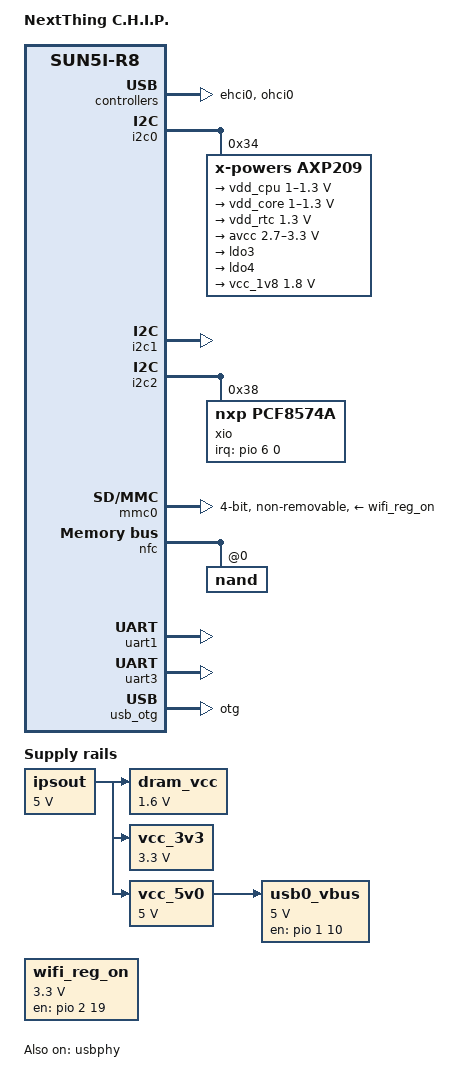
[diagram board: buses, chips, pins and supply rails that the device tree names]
/*
 * Copyright 2015 Maxime Ripard
 *
 * Maxime Ripard <maxime.ripard@free-electrons.com>
 *
 * This file is dual-licensed: you can use it either under the terms
 * of the GPL or the X11 license, at your option. Note that this dual
 * licensing only applies to this file, and not this project as a
 * whole.
 *
 *  a) This file is free software; you can redistribute it and/or
 *     modify it under the terms of the GNU General Public License as
 *     published by the Free Software Foundation; either version 2 of the
 *     License, or (at your option) any later version.
 *
 *     This file is distributed in the hope that it will be useful,
 *     but WITHOUT ANY WARRANTY; without even the implied warranty of
 *     MERCHANTABILITY or FITNESS FOR A PARTICULAR PURPOSE.  See the
 *     GNU General Public License for more details.
 *
 * Or, alternatively,
 *
 *  b) Permission is hereby granted, free of charge, to any person
 *     obtaining a copy of this software and associated documentation
 *     files (the "Software"), to deal in the Software without
 *     restriction, including without limitation the rights to use,
 *     copy, modify, merge, publish, distribute, sublicense, and/or
 *     sell copies of the Software, and to permit persons to whom the
 *     Software is furnished to do so, subject to the following
 *     conditions:
 *
 *     The above copyright notice and this permission notice shall be
 *     included in all copies or substantial portions of the Software.
 *
 *     THE SOFTWARE IS PROVIDED "AS IS", WITHOUT WARRANTY OF ANY KIND,
 *     EXPRESS OR IMPLIED, INCLUDING BUT NOT LIMITED TO THE WARRANTIES
 *     OF MERCHANTABILITY, FITNESS FOR A PARTICULAR PURPOSE AND
 *     NONINFRINGEMENT. IN NO EVENT SHALL THE AUTHORS OR COPYRIGHT
 *     HOLDERS BE LIABLE FOR ANY CLAIM, DAMAGES OR OTHER LIABILITY,
 *     WHETHER IN AN ACTION OF CONTRACT, TORT OR OTHERWISE, ARISING
 *     FROM, OUT OF OR IN CONNECTION WITH THE SOFTWARE OR THE USE OR
 *     OTHER DEALINGS IN THE SOFTWARE.
 */

/dts-v1/;
#include "sun5i-a13.dtsi"

#include <dt-bindings/gpio/gpio.h>
#include <dt-bindings/interrupt-controller/irq.h>

/ {
	model = "NextThing C.H.I.P.";
	compatible = "nextthing,chip", "allwinner,sun5i-r8";

	aliases {
		i2c0 = &i2c0;
		i2c1 = &i2c1;
		i2c2 = &i2c2;
		serial0 = &uart1;
		serial1 = &uart3;
	};

	chosen {
		stdout-path = "serial0:115200n8";
	};

	dram_vcc: dram_vcc {
		compatible = "regulator-fixed";
		regulator-name = "dram-vcc";
		regulator-min-microvolt = <1600000>;
		regulator-max-microvolt = <1600000>;
		vin-supply = <&ipsout>;
		regulator-always-on;
	};

	ipsout: ipsout {
		compatible = "regulator-fixed";
		regulator-name = "ipsout";
		regulator-min-microvolt = <5000000>;
		regulator-max-microvolt = <5000000>;
		regulator-always-on;
	};

	usb0_vbus: usb0_vbus {
		compatible = "regulator-fixed";
		pinctrl-names = "default";
		pinctrl-0 = <&chip_vbus_pin>;

		regulator-name = "vbus-usb0";
		regulator-min-microvolt = <5000000>;
		regulator-max-microvolt = <5000000>;
		vin-supply = <&vcc_5v0>;
		gpio = <&pio 1 10 GPIO_ACTIVE_HIGH>; /* PB10 */
		enable-active-high;
	};

	vcc_3v3: vcc3v3 {
		compatible = "regulator-fixed";
		regulator-name = "vcc-3v3";
		regulator-min-microvolt = <3300000>;
		regulator-max-microvolt = <3300000>;
		vin-supply = <&ipsout>;
		regulator-always-on;
	};

	vcc_5v0: vcc5v0 {
		compatible = "regulator-fixed";
		regulator-name = "vcc-5v0";
		regulator-min-microvolt = <5000000>;
		regulator-max-microvolt = <5000000>;
		vin-supply = <&ipsout>;
		regulator-always-on;
	};

	wifi_reg_on: wifi_reg_on {
		compatible = "regulator-fixed";
		pinctrl-names = "default";
		pinctrl-0 = <&chip_wifi_reg_on_pin>;

		regulator-name = "wifi-reg-on";
		regulator-min-microvolt = <3300000>;
		regulator-max-microvolt = <3300000>;
		gpio = <&pio 2 19 GPIO_ACTIVE_HIGH>; /* PC19 */
		enable-active-high;
	};
};

&ehci0 {
	status = "okay";
};

&i2c0 {
	pinctrl-names = "default";
	pinctrl-0 = <&i2c0_pins_a>;
	status = "okay";

	axp209: pmic@34 {
		compatible = "x-powers,axp209";
		reg = <0x34>;

		/*
		 * The interrupt is routed through the "External Fast
                 * Interrupt Request" pin (ball G13 of the module)
                 * directly to the main interrupt controller, without
                 * any other controller interfering.
		 */
		interrupts = <0>;

		interrupt-controller;
		#interrupt-cells = <1>;

		regulators {
			vdd_cpu: dcdc2 {
				regulator-min-microvolt = <1000000>;
				regulator-max-microvolt = <1300000>;
				regulator-name = "cpuvdd";
				regulator-always-on;
			};

			vdd_core: dcdc3 {
				regulator-min-microvolt = <1000000>;
				regulator-max-microvolt = <1300000>;
				regulator-name = "corevdd";
				regulator-always-on;
			};

			vdd_rtc: ldo1 {
				regulator-min-microvolt = <1300000>;
				regulator-max-microvolt = <1300000>;
				regulator-name = "rtcvdd";
				regulator-always-on;
			};

			avcc: ldo2 {
				regulator-min-microvolt = <2700000>;
				regulator-max-microvolt = <3300000>;
				regulator-name = "avcc";
				regulator-always-on;
			};

			/* LDO3 is unused */
			ldo3 {
				regulator-name = "ldo3";
			};

			/* LDO4 is unused */
			ldo4 {
				regulator-name = "ldo4";
			};

			vcc_1v8: ldo5 {
				regulator-min-microvolt = <1800000>;
				regulator-max-microvolt = <1800000>;
				regulator-name = "vcc-1v8";
			};
		};
	};
};

/*
 * i2c1 is routed to the external pins and doesn't have any device
 * attached to it on the C.H.I.P itself.
 */
&i2c1 {
	pinctrl-names = "default";
	pinctrl-0 = <&i2c1_pins_a>;
	status = "okay";
};

&i2c2 {
	pinctrl-names = "default";
	pinctrl-0 = <&i2c2_pins_a>;
	status = "okay";

	xio: gpio@38 {
		compatible = "nxp,pcf8574a";
		reg = <0x38>;

		gpio-controller;
		#gpio-cells = <2>;

		interrupt-parent = <&pio>;
		interrupts = <6 0 IRQ_TYPE_EDGE_FALLING>;
		interrupt-controller;
		#interrupt-cells = <2>;
	};
};

&mmc0_pins_a {
	allwinner,pull = <SUN4I_PINCTRL_PULL_UP>;
};

&mmc0 {
	pinctrl-names = "default";
	pinctrl-0 = <&mmc0_pins_a>;
	vmmc-supply = <&wifi_reg_on>;
	bus-width = <4>;
	non-removable;
	status = "okay";
};

&nfc {
	pinctrl-names = "default";
	pinctrl-0 = <&nand_pins_a &nand_cs0_pins_a &nand_rb0_pins_a>;
	status = "okay";

	nand@0 {
		#address-cells = <2>;
		#size-cells = <2>;
		reg = <0>;
		allwinner,rb = <0>;
		nand-ecc-mode = "hw";
		nand-rnd-mode = "hw";
		nand-ecc-step-size = <1024>;
		nand-ecc-strength = <56>;
		nand-on-flash-bbt;
		nand-randomizer-seeds = /bits/ 16 <
				0x2b75 0x0bd0 0x5ca3 0x62d1 0x1c93 0x07e9 0x2162 0x3a72
				0x0d67 0x67f9 0x1be7 0x077d 0x032f 0x0dac 0x2716 0x2436
				0x7922 0x1510 0x3860 0x5287 0x480f 0x4252 0x1789 0x5a2d
				0x2a49 0x5e10 0x437f 0x4b4e 0x2f45 0x216e 0x5cb7 0x7130
				0x2a3f 0x60e4 0x4dc9 0x0ef0 0x0f52 0x1bb9 0x6211 0x7a56
				0x226d 0x4ea7 0x6f36 0x3692 0x38bf 0x0c62 0x05eb 0x4c55
				0x60f4 0x728c 0x3b6f 0x2037 0x7f69 0x0936 0x651a 0x4ceb
				0x6218 0x79f3 0x383f 0x18d9 0x4f05 0x5c82 0x2912 0x6f17
				0x6856 0x5938 0x1007 0x61ab 0x3e7f 0x57c2 0x542f 0x4f62
				0x7454 0x2eac 0x7739 0x42d4 0x2f90 0x435a 0x2e52 0x2064
				0x637c 0x66ad 0x2c90 0x0bad 0x759c 0x0029 0x0986 0x7126
				0x1ca7 0x1605 0x386a 0x27f5 0x1380 0x6d75 0x24c3 0x0f8e
				0x2b7a 0x1418 0x1fd1 0x7dc1 0x2d8e 0x43af 0x2267 0x7da3
				0x4e3d 0x1338 0x50db 0x454d 0x764d 0x40a3 0x42e6 0x262b
				0x2d2e 0x1aea 0x2e17 0x173d 0x3a6e 0x71bf 0x25f9 0x0a5d
				0x7c57 0x0fbe 0x46ce 0x4939 0x6b17 0x37bb 0x3e91 0x76db>;

		spl@0 {
			label = "SPL";
			reg = /bits/ 64 <0x0 0x400000>;
			nand-ecc-mode = "hw_syndrome";
			nand-rnd-mode = "hw";
			nand-ecc-step-size = <1024>;
			nand-ecc-strength = <40>;
			nand-randomizer-seeds = /bits/ 16 <0x4a80>;
		};

		spl-backup@400000 {
			label = "SPL.backup";
			reg = /bits/ 64 <0x400000 0x400000>;
			nand-ecc-mode = "hw_syndrome";
			nand-rnd-mode = "hw";
			nand-ecc-step-size = <1024>;
			nand-ecc-strength = <40>;
			nand-randomizer-seeds = /bits/ 16 <0x4a80>;
		};

		u-boot@800000 {
			label = "U-Boot";
			reg = /bits/ 64 <0x800000 0x400000>;
			nand-ecc-mode = "hw";
			nand-rnd-mode = "hw";
			nand-ecc-step-size = <1024>;
			nand-ecc-strength = <56>;
			nand-randomizer-seeds = /bits/ 16 <
				0x2b75 0x0bd0 0x5ca3 0x62d1 0x1c93 0x07e9 0x2162 0x3a72
				0x0d67 0x67f9 0x1be7 0x077d 0x032f 0x0dac 0x2716 0x2436
				0x7922 0x1510 0x3860 0x5287 0x480f 0x4252 0x1789 0x5a2d
				0x2a49 0x5e10 0x437f 0x4b4e 0x2f45 0x216e 0x5cb7 0x7130
				0x2a3f 0x60e4 0x4dc9 0x0ef0 0x0f52 0x1bb9 0x6211 0x7a56
				0x226d 0x4ea7 0x6f36 0x3692 0x38bf 0x0c62 0x05eb 0x4c55
				0x60f4 0x728c 0x3b6f 0x2037 0x7f69 0x0936 0x651a 0x4ceb
				0x6218 0x79f3 0x383f 0x18d9 0x4f05 0x5c82 0x2912 0x6f17
				0x6856 0x5938 0x1007 0x61ab 0x3e7f 0x57c2 0x542f 0x4f62
				0x7454 0x2eac 0x7739 0x42d4 0x2f90 0x435a 0x2e52 0x2064
				0x637c 0x66ad 0x2c90 0x0bad 0x759c 0x0029 0x0986 0x7126
				0x1ca7 0x1605 0x386a 0x27f5 0x1380 0x6d75 0x24c3 0x0f8e
				0x2b7a 0x1418 0x1fd1 0x7dc1 0x2d8e 0x43af 0x2267 0x7da3
				0x4e3d 0x1338 0x50db 0x454d 0x764d 0x40a3 0x42e6 0x262b
				0x2d2e 0x1aea 0x2e17 0x173d 0x3a6e 0x71bf 0x25f9 0x0a5d
				0x7c57 0x0fbe 0x46ce 0x4939 0x6b17 0x37bb 0x3e91 0x76db>;
			};

		env@c00000 {
			label = "env";
			reg = /bits/ 64 <0xc00000 0x400000>;
			nand-ecc-mode = "hw";
			nand-rnd-mode = "hw";
			nand-ecc-step-size = <1024>;
			nand-ecc-strength = <56>;
			nand-randomizer-seeds = /bits/ 16 <
				0x2b75 0x0bd0 0x5ca3 0x62d1 0x1c93 0x07e9 0x2162 0x3a72
				0x0d67 0x67f9 0x1be7 0x077d 0x032f 0x0dac 0x2716 0x2436
				0x7922 0x1510 0x3860 0x5287 0x480f 0x4252 0x1789 0x5a2d
				0x2a49 0x5e10 0x437f 0x4b4e 0x2f45 0x216e 0x5cb7 0x7130
				0x2a3f 0x60e4 0x4dc9 0x0ef0 0x0f52 0x1bb9 0x6211 0x7a56
				0x226d 0x4ea7 0x6f36 0x3692 0x38bf 0x0c62 0x05eb 0x4c55
				0x60f4 0x728c 0x3b6f 0x2037 0x7f69 0x0936 0x651a 0x4ceb
				0x6218 0x79f3 0x383f 0x18d9 0x4f05 0x5c82 0x2912 0x6f17
				0x6856 0x5938 0x1007 0x61ab 0x3e7f 0x57c2 0x542f 0x4f62
				0x7454 0x2eac 0x7739 0x42d4 0x2f90 0x435a 0x2e52 0x2064
				0x637c 0x66ad 0x2c90 0x0bad 0x759c 0x0029 0x0986 0x7126
				0x1ca7 0x1605 0x386a 0x27f5 0x1380 0x6d75 0x24c3 0x0f8e
				0x2b7a 0x1418 0x1fd1 0x7dc1 0x2d8e 0x43af 0x2267 0x7da3
				0x4e3d 0x1338 0x50db 0x454d 0x764d 0x40a3 0x42e6 0x262b
				0x2d2e 0x1aea 0x2e17 0x173d 0x3a6e 0x71bf 0x25f9 0x0a5d
				0x7c57 0x0fbe 0x46ce 0x4939 0x6b17 0x37bb 0x3e91 0x76db>;
		};

		rootfs@1000000 {
			label = "rootfs";
			reg = /bits/ 64 <0x1000000 0x1ff000000>;
			nand-ecc-mode = "hw";
			nand-rnd-mode = "hw";
			nand-ecc-step-size = <1024>;
			nand-ecc-strength = <56>;
			nand-randomizer-seeds = /bits/ 16 <
				0x2b75 0x0bd0 0x5ca3 0x62d1 0x1c93 0x07e9 0x2162 0x3a72
				0x0d67 0x67f9 0x1be7 0x077d 0x032f 0x0dac 0x2716 0x2436
				0x7922 0x1510 0x3860 0x5287 0x480f 0x4252 0x1789 0x5a2d
				0x2a49 0x5e10 0x437f 0x4b4e 0x2f45 0x216e 0x5cb7 0x7130
				0x2a3f 0x60e4 0x4dc9 0x0ef0 0x0f52 0x1bb9 0x6211 0x7a56
				0x226d 0x4ea7 0x6f36 0x3692 0x38bf 0x0c62 0x05eb 0x4c55
				0x60f4 0x728c 0x3b6f 0x2037 0x7f69 0x0936 0x651a 0x4ceb
				0x6218 0x79f3 0x383f 0x18d9 0x4f05 0x5c82 0x2912 0x6f17
				0x6856 0x5938 0x1007 0x61ab 0x3e7f 0x57c2 0x542f 0x4f62
				0x7454 0x2eac 0x7739 0x42d4 0x2f90 0x435a 0x2e52 0x2064
				0x637c 0x66ad 0x2c90 0x0bad 0x759c 0x0029 0x0986 0x7126
				0x1ca7 0x1605 0x386a 0x27f5 0x1380 0x6d75 0x24c3 0x0f8e
				0x2b7a 0x1418 0x1fd1 0x7dc1 0x2d8e 0x43af 0x2267 0x7da3
				0x4e3d 0x1338 0x50db 0x454d 0x764d 0x40a3 0x42e6 0x262b
				0x2d2e 0x1aea 0x2e17 0x173d 0x3a6e 0x71bf 0x25f9 0x0a5d
				0x7c57 0x0fbe 0x46ce 0x4939 0x6b17 0x37bb 0x3e91 0x76db>;
		};
	};
};

&ohci0 {
	status = "okay";
};

&otg_sram {
	status = "okay";
};

&pio {
	chip_vbus_pin: chip_vbus_pin@0 {
	        allwinner,pins = "PB10";
	        allwinner,function = "gpio_out";
	        allwinner,drive = <SUN4I_PINCTRL_10_MA>;
	        allwinner,pull = <SUN4I_PINCTRL_NO_PULL>;
	};

	chip_wifi_reg_on_pin: chip_wifi_reg_on_pin@0 {
	        allwinner,pins = "PC19";
	        allwinner,function = "gpio_out";
	        allwinner,drive = <SUN4I_PINCTRL_10_MA>;
	        allwinner,pull = <SUN4I_PINCTRL_NO_PULL>;
	};

	chip_id_det_pin: chip_id_det_pin@0 {
	        allwinner,pins = "PG2";
	        allwinner,function = "gpio_in";
	        allwinner,drive = <SUN4I_PINCTRL_10_MA>;
	        allwinner,pull = <SUN4I_PINCTRL_NO_PULL>;
	};
};

&uart1 {
	pinctrl-names = "default";
	pinctrl-0 = <&uart1_pins_b>;
	status = "okay";
};

&uart3 {
	pinctrl-names = "default";
	pinctrl-0 = <&uart3_pins_a>,
		    <&uart3_pins_cts_rts_a>;
	status = "okay";
};

&usb_otg {
	dr_mode = "otg";
	status = "okay";
};

&usbphy {
	pinctrl-names = "default";
	pinctrl-0 = <&chip_id_det_pin>;
	status = "okay";

	usb0_id_det-gpio = <&pio 6 2 GPIO_ACTIVE_HIGH>; /* PG2 */

	usb0_vbus-supply = <&usb0_vbus>;
	usb1_vbus-supply = <&vcc_5v0>;
};
